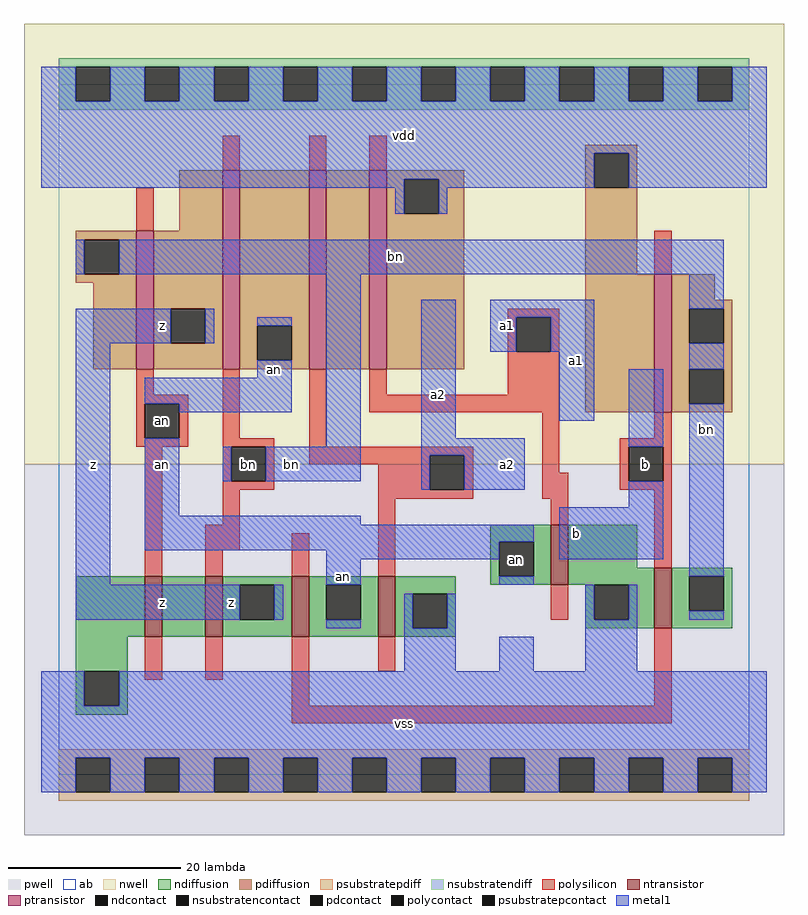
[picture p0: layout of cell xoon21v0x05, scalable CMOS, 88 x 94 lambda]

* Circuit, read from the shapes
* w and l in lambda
.subckt xoon21v0x05 a1 a2 an b bn vdd vss z
M1 n1 an vss vss nfet w=7 l=2
M2 z bn n1 vss nfet w=7 l=2
M3 an b z vss nfet w=7 l=2
M4 vss a2 an vss nfet w=7 l=2
M5 vss a1 an vss nfet w=7 l=2
M6 bn b vss vss nfet w=7 l=2
M7 z an bn vdd pfet w=16 l=2
M8 an bn z vdd pfet w=23 l=2
M9 n2 a2 an vdd pfet w=23 l=2
M10 vdd a1 n2 vdd pfet w=23 l=2
M11 bn b vdd vdd pfet w=16 l=2
.ends

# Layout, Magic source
magic
tech scmos
<< ab >>
rect 0 0 80 80
<< pwell >>
rect -4 -7 84 36
<< nwell >>
rect -4 36 84 87
<< polysilicon >>
rect 19 70 21 74
rect 29 70 31 74
rect 36 70 38 74
rect 9 63 11 68
rect 69 58 71 63
rect 52 53 58 54
rect 52 49 53 53
rect 57 49 58 53
rect 9 44 11 47
rect 9 43 15 44
rect 9 39 10 43
rect 14 39 15 43
rect 9 38 15 39
rect 19 39 21 47
rect 19 38 25 39
rect 10 23 12 38
rect 19 34 20 38
rect 24 34 25 38
rect 29 38 31 47
rect 36 44 38 47
rect 52 44 58 49
rect 36 42 58 44
rect 29 37 48 38
rect 29 36 43 37
rect 19 33 25 34
rect 37 33 43 36
rect 47 33 48 37
rect 19 29 21 33
rect 17 26 21 29
rect 37 32 48 33
rect 56 35 58 42
rect 69 39 71 42
rect 65 38 71 39
rect 56 32 59 35
rect 65 34 66 38
rect 70 34 71 38
rect 65 33 71 34
rect 17 23 19 26
rect 27 23 29 28
rect 37 23 39 32
rect 57 29 59 32
rect 69 24 71 33
rect 57 18 59 22
rect 10 11 12 16
rect 17 11 19 16
rect 27 8 29 16
rect 37 12 39 16
rect 69 8 71 17
rect 27 6 71 8
<< ndiffusion >>
rect 50 27 57 29
rect 50 23 51 27
rect 55 23 57 27
rect 2 16 10 23
rect 12 16 17 23
rect 19 22 27 23
rect 19 18 21 22
rect 25 18 27 22
rect 19 16 27 18
rect 29 22 37 23
rect 29 18 31 22
rect 35 18 37 22
rect 29 16 37 18
rect 39 21 46 23
rect 50 22 57 23
rect 59 24 67 29
rect 59 22 69 24
rect 39 17 41 21
rect 45 17 46 21
rect 61 18 62 22
rect 66 18 69 22
rect 61 17 69 18
rect 71 23 78 24
rect 71 19 73 23
rect 77 19 78 23
rect 71 17 78 19
rect 39 16 46 17
rect 2 12 8 16
rect 2 8 3 12
rect 7 8 8 12
rect 2 7 8 8
<< pdiffusion >>
rect 61 72 67 73
rect 14 63 19 70
rect 2 62 9 63
rect 2 58 3 62
rect 7 58 9 62
rect 2 57 9 58
rect 4 47 9 57
rect 11 54 19 63
rect 11 50 13 54
rect 17 50 19 54
rect 11 47 19 50
rect 21 52 29 70
rect 21 48 23 52
rect 27 48 29 52
rect 21 47 29 48
rect 31 47 36 70
rect 38 69 47 70
rect 38 65 40 69
rect 44 65 47 69
rect 38 47 47 65
rect 61 68 62 72
rect 66 68 67 72
rect 61 58 67 68
rect 61 42 69 58
rect 71 55 76 58
rect 71 54 78 55
rect 71 50 73 54
rect 77 50 78 54
rect 71 47 78 50
rect 71 43 73 47
rect 77 43 78 47
rect 71 42 78 43
<< metal1 >>
rect -2 78 2 82
rect 6 78 10 82
rect 14 78 18 82
rect 22 78 26 82
rect 30 78 34 82
rect 38 78 42 82
rect 46 78 50 82
rect 54 78 58 82
rect 62 78 66 82
rect 70 78 74 82
rect 78 78 82 82
rect -2 72 82 78
rect -2 69 62 72
rect -2 68 40 69
rect 39 65 40 68
rect 44 68 62 69
rect 66 68 82 72
rect 44 65 45 68
rect 2 58 3 62
rect 7 58 77 62
rect 2 50 13 54
rect 17 50 18 54
rect 23 52 27 53
rect 2 22 6 50
rect 23 46 27 48
rect 10 43 27 46
rect 14 42 27 43
rect 10 30 14 39
rect 31 38 35 58
rect 19 34 20 38
rect 24 34 35 38
rect 42 39 46 55
rect 50 53 62 55
rect 50 49 53 53
rect 57 49 62 53
rect 58 41 62 49
rect 73 54 77 58
rect 73 47 77 50
rect 42 37 54 39
rect 42 33 43 37
rect 47 33 54 37
rect 66 38 70 47
rect 66 31 70 34
rect 10 29 35 30
rect 10 27 55 29
rect 10 26 51 27
rect 31 25 51 26
rect 31 22 35 25
rect 58 25 70 31
rect 51 22 55 23
rect 73 23 77 43
rect 2 18 21 22
rect 25 18 26 22
rect 31 17 35 18
rect 40 17 41 21
rect 45 17 46 21
rect 40 12 46 17
rect 61 18 62 22
rect 66 18 67 22
rect 73 18 77 19
rect 51 12 55 16
rect 61 12 67 18
rect -2 8 3 12
rect 7 8 82 12
rect -2 2 82 8
rect -2 -2 2 2
rect 6 -2 10 2
rect 14 -2 18 2
rect 22 -2 26 2
rect 30 -2 34 2
rect 38 -2 42 2
rect 46 -2 50 2
rect 54 -2 58 2
rect 62 -2 66 2
rect 70 -2 74 2
rect 78 -2 82 2
<< ntransistor >>
rect 10 16 12 23
rect 17 16 19 23
rect 27 16 29 23
rect 37 16 39 23
rect 57 22 59 29
rect 69 17 71 24
<< ptransistor >>
rect 9 47 11 63
rect 19 47 21 70
rect 29 47 31 70
rect 36 47 38 70
rect 69 42 71 58
<< polycontact >>
rect 53 49 57 53
rect 10 39 14 43
rect 20 34 24 38
rect 43 33 47 37
rect 66 34 70 38
<< ndcontact >>
rect 51 23 55 27
rect 21 18 25 22
rect 31 18 35 22
rect 41 17 45 21
rect 62 18 66 22
rect 73 19 77 23
rect 3 8 7 12
<< pdcontact >>
rect 3 58 7 62
rect 13 50 17 54
rect 23 48 27 52
rect 40 65 44 69
rect 62 68 66 72
rect 73 50 77 54
rect 73 43 77 47
<< psubstratepcontact >>
rect 2 -2 6 2
rect 10 -2 14 2
rect 18 -2 22 2
rect 26 -2 30 2
rect 34 -2 38 2
rect 42 -2 46 2
rect 50 -2 54 2
rect 58 -2 62 2
rect 66 -2 70 2
rect 74 -2 78 2
<< nsubstratencontact >>
rect 2 78 6 82
rect 10 78 14 82
rect 18 78 22 82
rect 26 78 30 82
rect 34 78 38 82
rect 42 78 46 82
rect 50 78 54 82
rect 58 78 62 82
rect 66 78 70 82
rect 74 78 78 82
<< psubstratepdiff >>
rect 0 2 80 3
rect 0 -2 2 2
rect 6 -2 10 2
rect 14 -2 18 2
rect 22 -2 26 2
rect 30 -2 34 2
rect 38 -2 42 2
rect 46 -2 50 2
rect 54 -2 58 2
rect 62 -2 66 2
rect 70 -2 74 2
rect 78 -2 80 2
rect 0 -3 80 -2
<< nsubstratendiff >>
rect 0 82 80 83
rect 0 78 2 82
rect 6 78 10 82
rect 14 78 18 82
rect 22 78 26 82
rect 30 78 34 82
rect 38 78 42 82
rect 46 78 50 82
rect 54 78 58 82
rect 62 78 66 82
rect 70 78 74 82
rect 78 78 80 82
rect 0 77 80 78
<< labels >>
rlabel polycontact 12 41 12 41 6 an
rlabel polycontact 22 36 22 36 6 bn
rlabel metal1 4 36 4 36 6 z
rlabel metal1 12 20 12 20 6 z
rlabel metal1 20 20 20 20 6 z
rlabel metal1 12 36 12 36 6 an
rlabel metal1 25 47 25 47 6 an
rlabel metal1 12 52 12 52 6 z
rlabel metal1 40 6 40 6 6 vss
rlabel metal1 33 23 33 23 6 an
rlabel metal1 27 36 27 36 6 bn
rlabel metal1 44 44 44 44 6 a2
rlabel metal1 40 74 40 74 6 vdd
rlabel ndcontact 53 25 53 25 6 an
rlabel metal1 60 28 60 28 6 b
rlabel metal1 52 36 52 36 6 a2
rlabel metal1 60 48 60 48 6 a1
rlabel metal1 52 52 52 52 6 a1
rlabel polycontact 68 36 68 36 6 b
rlabel metal1 75 40 75 40 6 bn
rlabel metal1 39 60 39 60 6 bn
<< end >>
